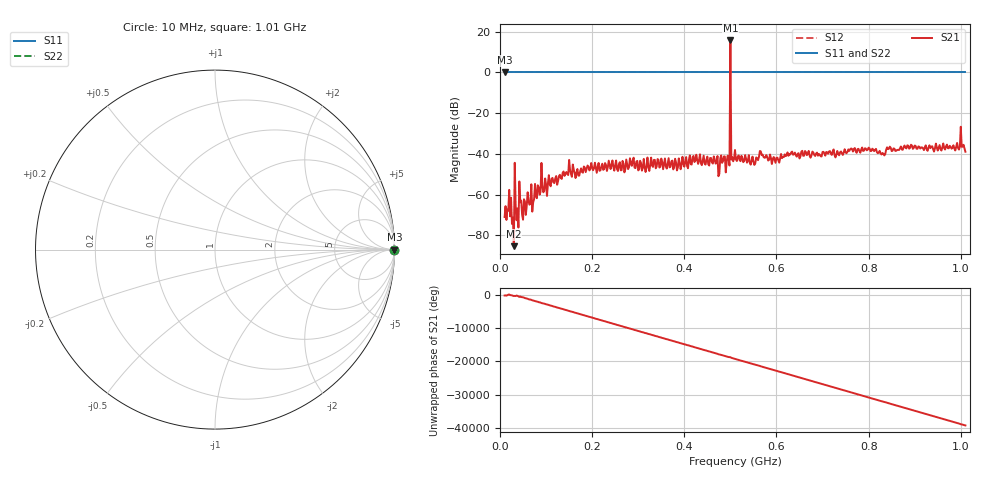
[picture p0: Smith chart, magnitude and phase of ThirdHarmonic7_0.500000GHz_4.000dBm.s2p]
! 8/17/2025 2:18:43 PM
! C:\ANRITSUVNA\TEMP\TEMP.S2P
! CHANNEL.1
! TR.MEASUREMENT
! RAW.DATA
! RF.CORRECTION.OFF
! AVERAGING.OFF
! IF.BANDWIDTH: 5KHZ
! SWEEPTYPE:  FREQ.SWEEP(Linear)
! Reference Plane Port Info
! PORT:  PORT1  PORT2
! DISTANCE:  0  m  0  m
! TIME:  0  s  0  s
! PHASE.OFFSET:  0  deg.  0  deg.
! LOSS:  0  dB  0  dB
! REF.LOSS:  0  dB  0  dB
! REF.FREQ:  0  Hz  0  Hz
! Power Info
! POWER:  -20  dBm  -20  dBm
! EFF.POWER:  -20  dBm  -20  dBm
! SOURCE.ATTEN:  0  dB  0  dB
! TEST.ATTEN:  0  dB  0  dB
# GHZ S RI R 50.0
! FREQ.GHZ  S11RE  S11IM  S21RE  S21IM  S12RE  S12IM  S22RE  S22IM
!; PortSelection: Port_12
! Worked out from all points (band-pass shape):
!   501 points, 10 MHz to 1.01 GHz, reference 50 ohm
!   highest |S21| = 15.73 dB at 500 MHz (marker M1); lowest = -85.4 dB at 30 MHz (marker M2)
!   |S21| within 3 dB of the highest: 499.9023 MHz to 500.1024 MHz (200.1 kHz wide, 0.04 % of centre)
!   lowest |S11| = 0.0 dB at 10 MHz (marker M3)
!   |S11| at or under -10 dB: nowhere
!   |S22| runs from 0.0 to 0.0 dB; largest |S21 - S12| = 5.3
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0.01  1 0  -0.000219 -0.000175  1 0  1 0
0.02  1 0  -0.00115 0.000612  1 0  1 0
0.026  1 0  1.65e-05 -0.00019  1 0  1 0
0.028  1 0  -0.000215 0.000166  1 0  1 0
0.03  1 0  2.13e-05 4.96e-05  1 0  1 0
0.046  1 0  -0.000436 0.000564  1 0  1 0
0.052  1 0  0.000561 -0.000525  1 0  1 0
0.094  1 0  0.0011 -0.000305  1 0  1 0
0.098  1 0  -0.00215 -0.00125  1 0  1 0
0.148  1 0  0.00245 -0.00176  1 0  1 0
0.178  1 0  -0.0035 -0.000691  1 0  1 0
0.344  1 0  0.00679 -0.00212  1 0  1 0
0.494  1 0  -0.00462 0.00776  1 0  1 0
0.496  1 0  0.00751 0.00325  1 0  1 0
0.5  1 0  5.185 -3.243  1 0  1 0
0.504  1 0  0.00434 0.00707  1 0  1 0
0.506  1 0  0.00648 -0.00106  1 0  1 0
0.51  1 0  -0.0124 -0.000879  1 0  1 0
0.678  1 0  0.00567 -0.00984  1 0  1 0
0.844  1 0  -0.00515 0.0123  1 0  1 0
1.002  1 0  -0.00938 -0.0115  1 0  1 0
1.01  1 0  0.000107 -0.0113  1 0  1 0
